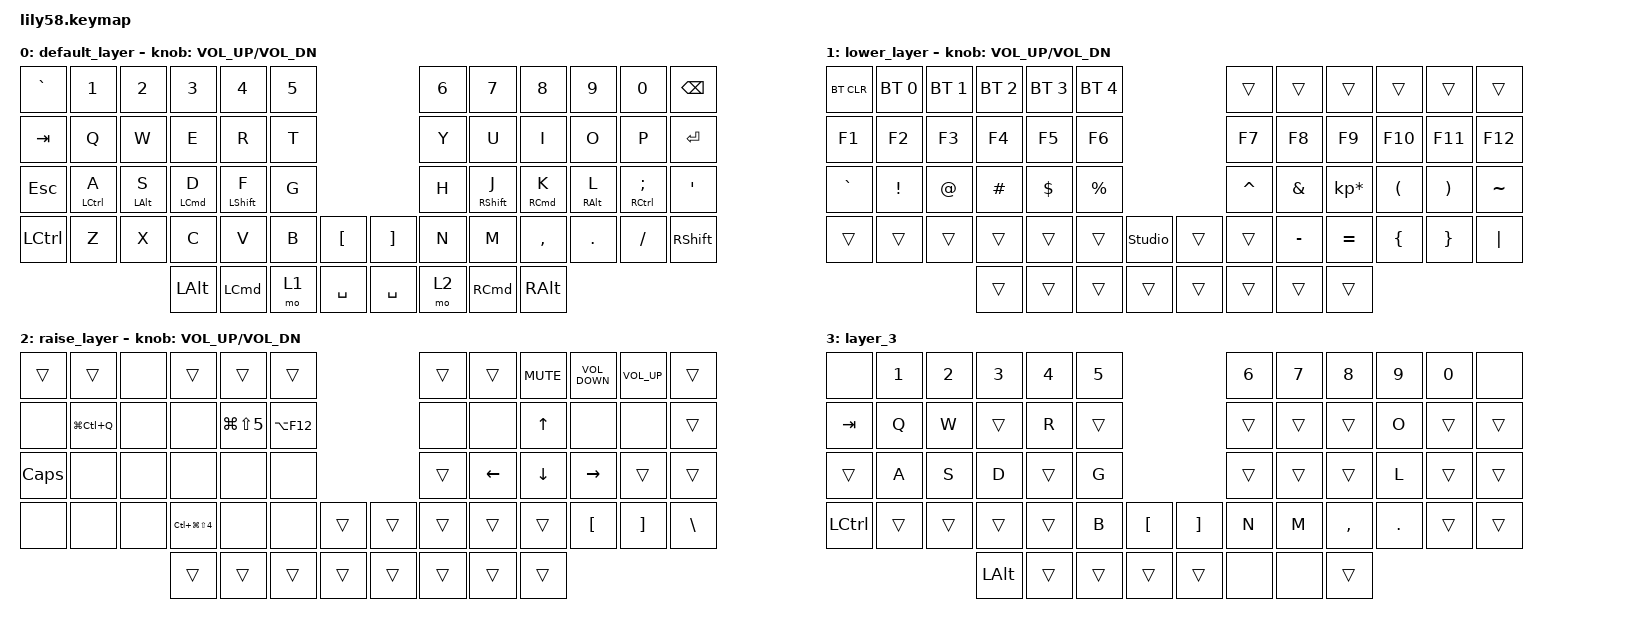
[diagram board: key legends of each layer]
/*
 * Copyright (c) 2020 The ZMK Contributors
 *
 * SPDX-License-Identifier: MIT
 */

#include <behaviors.dtsi>
#include <dt-bindings/zmk/bt.h>
#include <dt-bindings/zmk/keys.h>

/ {
    behaviors {
        TapAndHold: TapAndHold {
            compatible = "zmk,behavior-hold-tap";
            label = "TAPANDHOLD";
            #binding-cells = <2>;
            tapping-term-ms = <200>;
            quick-tap-ms = <200>;
            require-prior-idle-ms = <200>;
            flavor = "tap-preferred";
            bindings = <&kp>, <&kp>;
        };

        HMShiftR: HMShiftR {
            compatible = "zmk,behavior-hold-tap";
            label = "HMSHIFTR";
            #binding-cells = <2>;
            bindings = <&kp>, <&kp>;

            tapping-term-ms = <200>;
            hold-while-undecided;
            hold-trigger-key-positions = <0 1 2 3 4 5 13 14 15 16 17 25 26 27 28 29 37 38 39 40 41 42 50 51 52 53 36 24 12>;
            hold-trigger-on-release;
            flavor = "balanced";
            quick-tap-ms = <175>;
            require-prior-idle-ms = <150>;
        };

        HMShiftL: HMShiftL {
            compatible = "zmk,behavior-hold-tap";
            label = "HMSHIFTL";
            #binding-cells = <2>;
            bindings = <&kp>, <&kp>;

            tapping-term-ms = <200>;
            hold-while-undecided;
            hold-trigger-on-release;
            hold-trigger-key-positions = <6 7 8 9 10 11 18 19 20 21 22 23 30 31 32 33 34 35 44 45 46 47 48 49 54 55 56 57 43>;
            quick-tap-ms = <175>;
            require-prior-idle-ms = <150>;
            flavor = "balanced";
        };

        HMR: HMR {
            compatible = "zmk,behavior-hold-tap";
            label = "HMR";
            #binding-cells = <2>;
            bindings = <&kp>, <&kp>;

            tapping-term-ms = <200>;
            hold-trigger-key-positions = <0 1 2 3 4 5 13 14 15 16 17 25 26 27 28 29 37 38 39 40 41 42 50 51 52 53 36 24 12>;
            hold-trigger-on-release;
            flavor = "balanced";
            quick-tap-ms = <175>;
            require-prior-idle-ms = <150>;
        };

        HML: HML {
            compatible = "zmk,behavior-hold-tap";
            label = "HML";
            #binding-cells = <2>;
            bindings = <&kp>, <&kp>;

            tapping-term-ms = <200>;
            hold-trigger-on-release;
            hold-trigger-key-positions = <6 7 8 9 10 11 18 19 20 21 22 23 30 31 32 33 34 35 44 45 46 47 48 49 54 55 56 57 43>;
            flavor = "balanced";
            quick-tap-ms = <175>;
            require-prior-idle-ms = <150>;
        };
    };

    combos {
        compatible = "zmk,combos";

        double_tap_shift_button {
            bindings = <&kp LEFT_SHIFT>;
            key-positions = <36 37>;
        };

        toggle_layer_3 {
            bindings = <&tog 3>;
            key-positions = <11 10>;
        };

        toggle_default_layer {
            bindings = <&tog 0>;
            key-positions = <49 48>;
        };
    };

    keymap {
        compatible = "zmk,keymap";

        default_layer {
            // ------------------------------------------------------------------------------------------------------------
            // |  ESC  |  1  |  2  |  3   |  4   |  5   |                   |  6   |  7    |  8    |  9   |   0   |   `   |
            // |  TAB  |  Q  |  W  |  E   |  R   |  T   |                   |  Y   |  U    |  I    |  O   |   P   |   -   |
            // |  CTRL |  A  |  S  |  D   |  F   |  G   |                   |  H   |  J    |  K    |  L   |   ;   |   '   |
            // | SHIFT |  Z  |  X  |  C   |  V   |  B   |   "["  |  |  "]"  |  N   |  M    |  ,    |  .   |   /   | SHIFT |
            //                     | ALT  | GUI  | LOWER|  ENTER |  | SPACE | RAISE| BSPC  | GUI   |

            bindings = <
&kp GRAVE  &kp N1        &kp N2           &kp N3               &kp N4                  &kp N5                          &kp N6  &kp N7                   &kp N8                &kp N9            &kp N0           &kp BSPC
&kp TAB    &kp Q         &kp W            &kp E                &kp R                   &kp T                           &kp Y   &kp U                    &kp I                 &kp O             &kp P            &kp ENTER
&kp ESC    &HML LCTRL A  &HML LEFT_ALT S  &HML LEFT_COMMAND D  &HMShiftL LEFT_SHIFT F  &kp G                           &kp H   &HMShiftR RIGHT_SHIFT J  &HMR RIGHT_COMMAND K  &HMR RIGHT_ALT L  &HMR RCTRL SEMI  &kp SQT
&kp LCTRL  &kp Z         &kp X            &kp C                &kp V                   &kp B   &kp LBKT     &kp RBKT   &kp N   &kp M                    &kp COMMA             &kp DOT           &kp FSLH         &kp RSHFT
                                          &kp LEFT_ALT         &kp LEFT_COMMAND        &mo 1   &kp SPACE    &kp SPACE  &mo 2   &kp RIGHT_COMMAND        &kp RIGHT_ALT
            >;

            sensor-bindings = <&inc_dec_kp C_VOL_UP C_VOL_DN>;
        };

        lower_layer {
            // ------------------------------------------------------------------------------------------------------------
            // | BTCLR | BT1 | BT2 |  BT3 |  BT4 |  BT5 |                   |      |       |       |      |       |       |
            // |  F1   |  F2 |  F3 |  F4  |  F5  |  F6  |                   |  F7  |  F8   |  F9   |  F10 |  F11  |  F12  |
            // |   `   |  !  |  @  |  #   |  $   |  %   |                   |  ^   |  &    |  *    |  (   |   )   |   ~   |
            // |       |     |     |      |      |      |        |  |       |      |  _    |  +    |  {   |   }   |  "|"  |
            //                     |      |      |      |        |  |       |      |       |       |

            bindings = <
&bt BT_CLR  &bt BT_SEL 0  &bt BT_SEL 1  &bt BT_SEL 2  &bt BT_SEL 3  &bt BT_SEL 4                            &trans     &trans     &trans           &trans    &trans    &trans
&kp F1      &kp F2        &kp F3        &kp F4        &kp F5        &kp F6                                  &kp F7     &kp F8     &kp F9           &kp F10   &kp F11   &kp F12
&kp GRAVE   &kp EXCL      &kp AT        &kp HASH      &kp DOLLAR    &kp PRCNT                               &kp CARET  &kp AMPS   &kp KP_MULTIPLY  &kp LPAR  &kp RPAR  &kp TILDE
&trans      &trans        &trans        &trans        &trans        &trans        &studio_unlock    &trans  &trans     &kp MINUS  &kp EQUAL        &kp LBRC  &kp RBRC  &kp PIPE
                                        &trans        &trans        &trans        &trans            &trans  &trans     &trans     &trans
            >;

            sensor-bindings = <&inc_dec_kp C_VOL_UP C_VOL_DN>;
        };

        raise_layer {
            // ------------------------------------------------------------------------------------------------------------
            // |       |     |     |      |      |      |                   |      |       |       |      |       |       |
            // |   `   |  1  |  2  |  3   |  4   |  5   |                   |  6   |   7   |   8   |  9   |   0   |       |
            // |   F1  |  F2 |  F3 |  F4  |  F5  |  F6  |                   |      |   <-  |   v   |  ^   |  ->   |       |
            // |   F7  |  F8 |  F9 |  F10 |  F11 |  F12 |        |  |       |  +   |   -   |   =   |  [   |   ]   |   \   |
            //                     |      |      |      |        |  |       |      |       |       |

            bindings = <
&trans        &trans         &none  &trans                    &trans                &trans                         &trans  &trans    &kp C_MUTE    &kp C_VOLUME_DOWN  &kp C_VOLUME_UP  &trans
&none         &kp LG(LC(Q))  &none  &none                     &kp LG(LS(NUMBER_5))  &kp LA(F12)                    &none   &none     &kp UP_ARROW  &none              &none            &trans
&kp CAPSLOCK  &none          &none  &none                     &none                 &none                          &trans  &kp LEFT  &kp DOWN      &kp RIGHT          &trans           &trans
&none         &none          &none  &kp LC(LG(LS(NUMBER_4)))  &none                 &none        &trans    &trans  &trans  &trans    &trans        &kp LBKT           &kp RBKT         &kp BSLH
                                    &trans                    &trans                &trans       &trans    &trans  &trans  &trans    &trans
            >;

            sensor-bindings = <&inc_dec_kp C_VOL_UP C_VOL_DN>;
        };

        layer_3 {
            bindings = <
&none      &kp NUMBER_1  &kp NUMBER_2  &kp NUMBER_3  &kp NUMBER_4  &kp NUMBER_5                                         &kp NUMBER_6  &kp NUMBER_7  &kp NUMBER_8  &kp NUMBER_9  &kp NUMBER_0  &none
&kp TAB    &kp Q         &kp W         &trans        &kp R         &trans                                               &trans        &trans        &trans        &kp O         &trans        &trans
&trans     &kp A         &kp S         &kp D         &trans        &kp G                                                &trans        &trans        &trans        &kp L         &trans        &trans
&kp LCTRL  &trans        &trans        &trans        &trans        &kp B         &kp LEFT_BRACKET    &kp RIGHT_BRACKET  &kp N         &kp M         &kp COMMA     &kp PERIOD    &trans        &trans
                                       &kp LEFT_ALT  &trans        &trans        &trans              &trans             &none         &none         &trans
            >;
        };
    };
};
